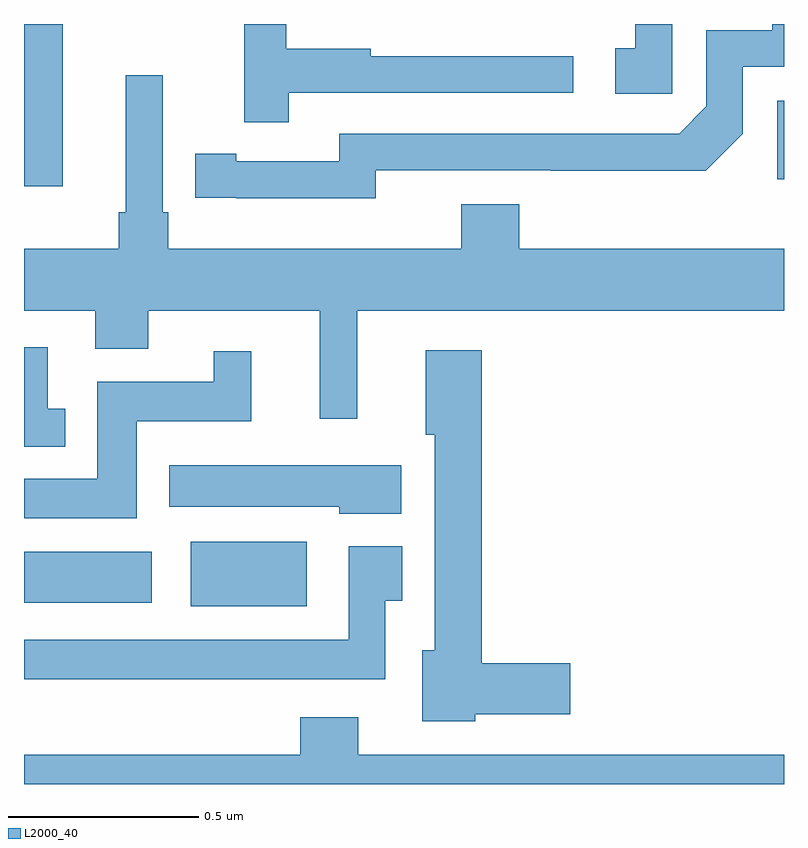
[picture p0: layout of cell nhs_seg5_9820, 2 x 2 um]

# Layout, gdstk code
import gdstk
lib = gdstk.Library(unit=1e-6, precision=1e-09)
def R(c, l, rs):  # rectangles x0, y0, x1, y1
    for r in rs: c.add(gdstk.rectangle(r[:2], r[2:], *l))
def P(c, l, *ps):  # polygons
    for p in ps: c.add(gdstk.Polygon(p, *l))
L2000_40 = (2000, 40)

nhs_seg5_9820 = lib.new_cell('nhs_seg5_9820')
R(nhs_seg5_9820, L2000_40, [(238.439,905.267,238.744,905.437), (238,905.276,238.336,905.41), (238,906.372,238.102,906.799), (239.982,906.39,240,906.597)])
P(nhs_seg5_9820, L2000_40, [(238.697,906.618),(239.446,906.618),(239.446,906.714),(238.913,906.714),(238.913,906.734),(238.69,906.734),(238.69,906.799),(238.58,906.799),(238.58,906.54),(238.697,906.54)],
  [(238.926,906.414),(239.386,906.414),(239.386,906.413),(239.794,906.413),(239.892,906.51),(239.892,906.687),(240,906.687),(240,906.799),(239.969,906.799),(239.969,906.783),(239.796,906.783),(239.796,906.582),(239.724,906.51),(238.83,906.51),(238.83,906.438),(238.558,906.438),(238.558,906.458),(238.45,906.458),(238.45,906.342),(238.558,906.342),(238.558,906.341),(238.926,906.341)],
  [(239.706,906.799),(239.609,906.799),(239.609,906.735),(239.556,906.735),(239.556,906.615),(239.706,906.615)],
  [(238.877,906.044),(240,906.044),(240,906.208),(239.303,906.208),(239.303,906.325),(239.15,906.325),(239.15,906.208),(238.379,906.208),(238.379,906.304),(238.365,906.304),(238.365,906.664),(238.268,906.664),(238.268,906.304),(238.249,906.304),(238.249,906.208),(238,906.208),(238,906.044),(238.187,906.044),(238.187,905.945),(238.327,905.945),(238.327,906.044),(238.778,906.044),(238.778,905.76),(238.877,905.76)],
  [(238.108,905.787),(238.062,905.787),(238.062,905.949),(238,905.949),(238,905.687),(238.108,905.687)],
  [(239.187,904.982),(239.437,904.982),(239.437,905.117),(239.204,905.117),(239.204,905.941),(239.057,905.941),(239.057,905.718),(239.081,905.718),(239.081,905.151),(239.048,905.151),(239.048,904.964),(239.187,904.964)],
  [(238.297,905.753),(238.598,905.753),(238.598,905.938),(238.499,905.938),(238.499,905.857),(238.193,905.857),(238.193,905.602),(238,905.602),(238,905.498),(238.297,905.498)],
  [(238.993,905.638),(238.382,905.638),(238.382,905.528),(238.83,905.528),(238.83,905.51),(238.993,905.51)],
  [(238.951,905.281),(238.996,905.281),(238.996,905.425),(238.854,905.425),(238.854,905.179),(238,905.179),(238,905.075),(238.951,905.075)],
  [(240,904.876),(238.879,904.876),(238.879,904.975),(238.727,904.975),(238.727,904.876),(238,904.876),(238,904.799),(240,904.799)])

lib.write_gds('nhs_seg5_9820.gds')
